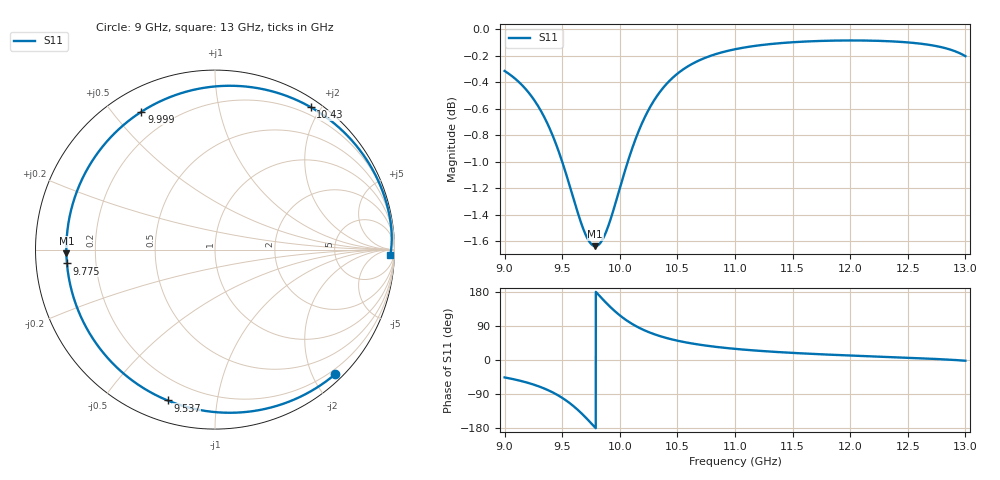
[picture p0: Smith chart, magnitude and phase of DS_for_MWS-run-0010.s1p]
! TOUCHSTONE file generated by CST DESIGN STUDIO
! Date and time: Tue Feb  4 17:27:22 2025
! Project name: C:\Work\MatlabApps\UnitCellOptimizationMatlab\CST\unitcell.cst
! Tree item: Tasks\Sweep1\SPara1\S-Parameters
! Header version: 2024
! Port assignment regex: !\s*Touchstone port\s*([0-9]+)\s*=\s*(CST MWS port|CST DES external port|CST DES block port)\s*(.+)\s* \(\"(.*)\"\)(\s*mode\s*([0-9]+))?.*
! Touchstone port assignment:
! Touchstone port 1 = CST DES external port 1 ("")
# GHz S MA R 50
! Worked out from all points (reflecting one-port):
!   4001 points, 9 GHz to 13 GHz, reference 50 ohm
!   lowest |S11| = -1.6 dB at 9.787 GHz (marker M1), VSWR 10.65, Z = 4.69 - j0.592 ohm
!   phase of S11 starts at -46 deg and turns -316 deg over the sweep
!   S11 on the Smith chart (normalised r, x): 9 GHz: 0.12, -2.35; 9.537 GHz: 0.10, -0.73; 9.775 GHz: 0.09, -0.05; 9.999 GHz: 0.09, +0.60; 10.43 GHz: 0.10, +1.87; 13 GHz: 28, -40
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9  0.9645 -46.0
9.143  0.9535 -55.4
9.273  0.9381 -67.0
9.387  0.9184 -81.0
9.447  0.905 -90.3
9.5  0.8914 -99.9
9.537  0.881 -107.5
9.595  0.8642 -121.0
9.651  0.8486 -136.0
9.717  0.8343 -155.9
9.775  0.8286 -174.7
9.787  0.8284 -178.6
9.831  0.8307 166.9
9.878  0.8381 151.9
9.939  0.8531 133.8
9.999  0.8708 118.1
10  0.8711 117.8
10.075  0.893 101.3
10.161  0.9148 86.1
10.288  0.9387 69.3
10.43  0.9561 56.0
10.5  0.9622 51.0
10.717  0.9746 39.3
11  0.9829 29.4
11.5  0.9888 18.8
12  0.9904 11.8
12.5  0.9887 5.9
13  0.977 -1.9
